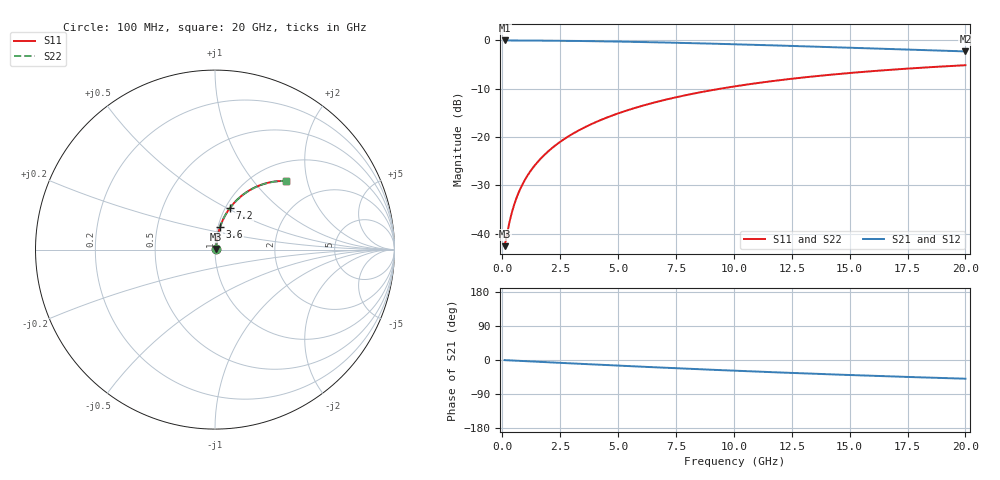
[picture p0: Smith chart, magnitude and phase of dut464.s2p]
! Touchstone file exported from HFSS 2024.1.0
!  File:  C:/UserFiles/LocalFiles/RDL_TSV_Batchsim/temp_RDL_bottom_464_1779685675.aedt
!  Generated:  01:10:52 PM May 25, 2026
!  Design:  RDL_bottom
!  Project:  temp_RDL_bottom_464_1779685675
!  Setup:  Setup1
!  Solution:  Sweep
! Variables:
!  dtsv = 10.80580581um
!  hbump = 3um
!  htsv = 90.98um
!  ldown = 602.8um
!  lrdl = 100um
!  p = 40
!  p1 = 59.07um
!  rhole = 1um
!  t = 450um
!  tdown = 2.7um
!  trdl = 3.915915916um
!  wdown = 12.37um
!  wrdl = 20um
# GHz S MA R 50.000000
! Terminal data exported
! Port[1] = RDL1_T1
! Port[2] = RDL1_T2
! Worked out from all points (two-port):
!   200 points, 100 MHz to 20 GHz, reference 50 ohm
!   highest |S21| = -0.06 dB at 100 MHz (marker M1); lowest = -2.3 dB at 20 GHz (marker M2)
!   |S21| within 3 dB of the highest: start of sweep to end of sweep
!   lowest |S11| = -42.6 dB at 100 MHz (marker M3), VSWR 1.01, Z = 50.6 + j0.372 ohm
!   |S11| at or under -10 dB: start of sweep to 9.452 GHz
!   |S22| runs from -42.6 to -5.2 dB; largest |S21 - S12| = 2.5e-15
!   S11 on the Smith chart (normalised r, x): 100 MHz: 1.01, +0.01; 3.6 GHz: 1.02, +0.26; 7.2 GHz: 1.05, +0.52; 20 GHz: 1.37, +1.50
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0.1  0.007427 29.6  0.9935 -0.3  0.9935 -0.3  0.007427 29.6
! Gamma 0 0 0 0
! Port Impedance 50 0 50 0
0.3  0.01285 58.5  0.9933 -0.9  0.9933 -0.9  0.01285 58.5
0.4  0.01613 64.6  0.9932 -1.2  0.9932 -1.2  0.01613 64.6
0.5  0.01951 68.5  0.993 -1.5  0.993 -1.5  0.01951 68.5
0.6  0.02294 71.1  0.9927 -1.8  0.9927 -1.8  0.02294 71.1
0.7  0.02639 73.0  0.9925 -2.1  0.9925 -2.1  0.02639 73.0
0.9  0.03332 75.4  0.992 -2.8  0.992 -2.8  0.03332 75.4
1.2  0.04373 77.4  0.9912 -3.7  0.9912 -3.7  0.04373 77.4
1.4  0.05069 78.1  0.9905 -4.3  0.9905 -4.3  0.05069 78.1
1.7  0.06113 78.7  0.9895 -5.1  0.9895 -5.1  0.06113 78.7
2.2  0.07855 79.0  0.9874 -6.6  0.9874 -6.6  0.07855 79.0
2.8  0.09944 78.6  0.9843 -8.4  0.9843 -8.4  0.09944 78.6
3.5  0.1237 77.7  0.9799 -10.5  0.9799 -10.5  0.1237 77.7
3.6  0.1272 77.5  0.9792 -10.8  0.9792 -10.8  0.1272 77.5
5  0.175 74.9  0.9677 -14.8  0.9677 -14.8  0.175 74.9
6.8  0.2345 71.1  0.9489 -19.8  0.9489 -19.8  0.2345 71.1
7.2  0.2473 70.2  0.9443 -20.9  0.9443 -20.9  0.2473 70.2
8.6  0.2909 67.0  0.9268 -24.6  0.9268 -24.6  0.2908 67.0
10.1  0.3349 63.6  0.9066 -28.4  0.9066 -28.4  0.3349 63.6
13.4  0.4213 56.4  0.8592 -36.1  0.8592 -36.1  0.4213 56.4
16.7  0.493 49.9  0.8112 -43.1  0.8112 -43.1  0.493 49.8
20  0.5512 43.9  0.7655 -49.4  0.7655 -49.4  0.5511 43.9
